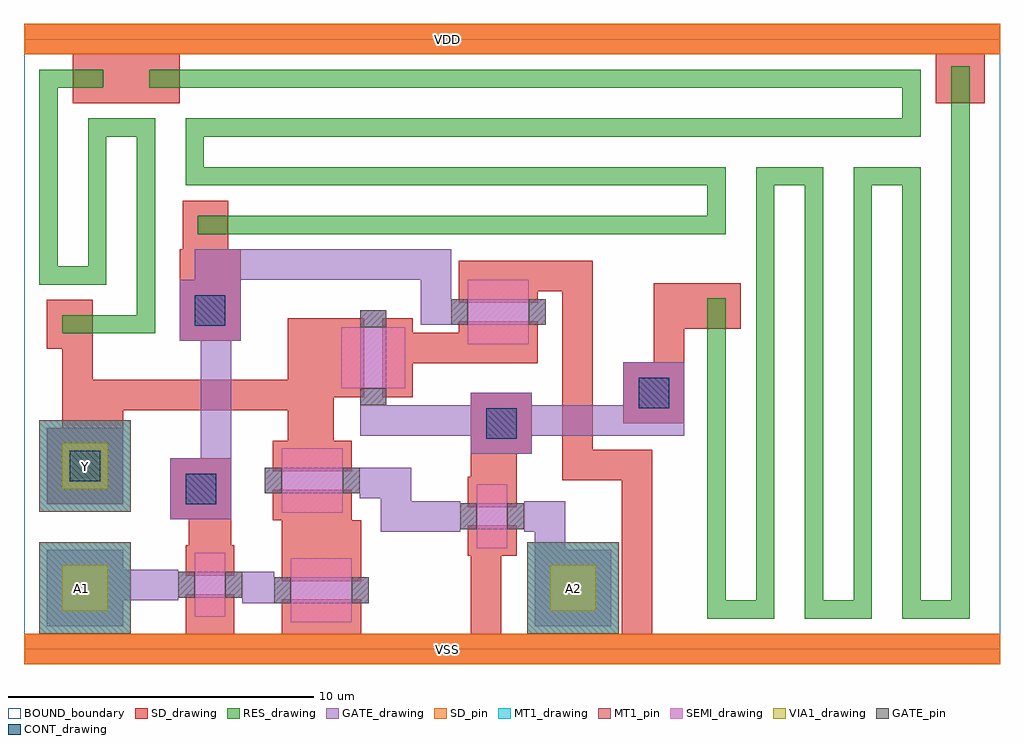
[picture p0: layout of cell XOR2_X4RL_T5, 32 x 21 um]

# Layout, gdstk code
from math import pi, radians
import gdstk
lib = gdstk.Library(unit=1e-6, precision=1e-09)
def R(c, l, rs):  # rectangles x0, y0, x1, y1
    for r in rs: c.add(gdstk.rectangle(r[:2], r[2:], *l))
def P(c, l, *ps):  # polygons
    for p in ps: c.add(gdstk.Polygon(p, *l))
RES_drawing = (1, 0)
SEMI_drawing = (3, 0)
SD_drawing = (10, 0)
SD_pin = (10, 3)
GATE_drawing = (11, 0)
GATE_pin = (11, 3)
MT1_drawing = (20, 0)
MT1_pin = (20, 3)
CONT_drawing = (30, 0)
VIA1_drawing = (41, 0)
BOUND_boundary = (150, 5)

nch_cdns_772545161620 = lib.new_cell('nch_CDNS_772545161620')
R(nch_cdns_772545161620, SEMI_drawing, [(-1.05,-0.5,1.05,0.5)])
R(nch_cdns_772545161620, SD_drawing, [(-1.3,-0.8,-0.3,0.8), (0.3,-0.8,1.3,0.8)])
R(nch_cdns_772545161620, GATE_drawing, [(-0.425,-1.05,0.425,1.05)])
R(nch_cdns_772545161620, GATE_pin, [(-0.425,-1.05,0.425,-0.5), (-0.425,0.5,0.425,1.05)])

nch_cdns_772545161621 = lib.new_cell('nch_CDNS_772545161621')
R(nch_cdns_772545161621, SEMI_drawing, [(-1.05,-1,1.05,1)])
R(nch_cdns_772545161621, SD_drawing, [(-1.3,-1.3,-0.3,1.3), (0.3,-1.3,1.3,1.3)])
R(nch_cdns_772545161621, GATE_drawing, [(-0.425,-1.55,0.425,1.55)])
R(nch_cdns_772545161621, GATE_pin, [(-0.425,-1.55,0.425,-1), (-0.425,1,0.425,1.55)])

gate_mt1_cdns_7725451616 = lib.new_cell('GATE_MT1_CDNS_772545161620')
R(gate_mt1_cdns_7725451616, GATE_drawing, [(-1.25,-1.25,1.25,1.25)])
R(gate_mt1_cdns_7725451616, MT1_drawing, [(-1.25,-1.25,1.25,1.25)])
R(gate_mt1_cdns_7725451616, VIA1_drawing, [(-0.75,-0.75,0.75,0.75)])

sd_gate_cdns_77254516162 = lib.new_cell('SD_GATE_CDNS_772545161621')
R(sd_gate_cdns_77254516162, SD_drawing, [(-1,-1,1,1)])
R(sd_gate_cdns_77254516162, GATE_drawing, [(-1,-1,1,1)])
R(sd_gate_cdns_77254516162, CONT_drawing, [(-0.5,-0.5,0.5,0.5)])

xor2_x4rl_t5 = lib.new_cell('XOR2_X4RL_T5')
R(xor2_x4rl_t5, SD_drawing, [(8.45,0.5,11.05,0.85), (8.45,3.225,11.05,4.225), (0.75,4.75,3.25,7.25), (14.65,5.6,16.15,8.4), (12.75,9.375,16.85,10.375), (0.75,9.85,2.25,11.45), (21.65,10.5,23.5,12), (5.1,11.55,7.1,13.1), (5.2,13.1,6.7,14.7), (1.6,17.9,3.6,19.5), (3.6,17.9,5.1,19.5), (29.9,17.9,31.5,19.5)])
R(xor2_x4rl_t5, SD_pin, [(0,-0.5,32,0.5), (0,19.5,32,20.5)])
R(xor2_x4rl_t5, GATE_drawing, [(7.15,1.5,8.2,2.525)])
P(xor2_x4rl_t5, GATE_drawing, [(16.5,3.85),(16.5,4.85),(16.4,4.85),(16.4,4.725),(16.35,4.725),(16.35,3.975),(16.4,3.975),(16.4,3.85)],
  [(14.2,4.85),(14.2,3.85),(14.3,3.85),(14.3,3.975),(14.35,3.975),(14.35,4.725),(14.3,4.725),(14.3,4.85)],
  [(13.9,11.625),(13.9,10.625),(14.05,10.625),(14.05,11.375),(14,11.375),(14,11.625)],
  [(11.075,7.9),(12.075,7.9),(12.075,8),(11.825,8),(11.825,8.05),(11.075,8.05)],
  [(4.95,2.6),(4.95,1.6),(5.05,1.6),(5.05,1.725),(5.1,1.725),(5.1,2.475),(5.05,2.475),(5.05,2.6)],
  [(11.1,4.95),(11.1,5.95),(11,5.95),(11,5.9),(10.95,5.9),(10.95,5.15),(11,5.15),(11,4.95)])
R(xor2_x4rl_t5, MT1_drawing, [(0.5,0.5,3.5,3.5), (0.5,0.5,3.5,3.5), (16.5,0.5,19.5,3.5), (0.5,4.5,3.5,7.5)])
R(xor2_x4rl_t5, MT1_pin, [(0.5,0.5,3.5,3.5), (16.5,0.5,19.5,3.5), (0.5,4.5,3.5,7.5)])
R(xor2_x4rl_t5, BOUND_boundary, [(0,0,32,20)])
xor2_x4rl_t5.add(gdstk.FlexPath([(9.4,6.825),(9.4,8.325)], 1.5, ends=(0, 0.5), simple_path=True, layer=10, datatype=0))  # SD_drawing
xor2_x4rl_t5.add(gdstk.FlexPath([(9.4,8.325),(9.4,10.1)], 1.5, ends=(0.5, 0.75), simple_path=True, layer=10, datatype=0))  # SD_drawing
xor2_x4rl_t5.add(gdstk.FlexPath([(2.75,8.325),(9.4,8.325)], 1, ends=(0.5, 0.75), simple_path=True, layer=10, datatype=0))  # SD_drawing
xor2_x4rl_t5.add(gdstk.FlexPath([(18.15,6.025),(18.15,12.225),(14.25,12.225)], 1, ends=(0.5, 0), simple_path=True, layer=10, datatype=0))  # SD_drawing
xor2_x4rl_t5.add(gdstk.FlexPath([(2.75,4.75),(2.75,8.325)], 1, ends=(0, 0.5), simple_path=True, layer=10, datatype=0))  # SD_drawing
xor2_x4rl_t5.add(gdstk.FlexPath([(1.75,6.025),(1.75,9.4)], 1, ends=(0, 0.5), simple_path=True, layer=10, datatype=0))  # SD_drawing
xor2_x4rl_t5.add(gdstk.FlexPath([(18.15,6.025),(20.1,6.025)], 1, ends="extended", simple_path=True, layer=10, datatype=0))  # SD_drawing
xor2_x4rl_t5.add(gdstk.FlexPath([(21.15,9.8),(20.65,9.8)], 2, ends=(0.5, 0), simple_path=True, layer=10, datatype=0))  # SD_drawing
xor2_x4rl_t5.add(gdstk.FlexPath([(20.1,6.025),(20.1,0.5)], 1, ends=(0.5, 0), simple_path=True, layer=10, datatype=0))  # SD_drawing
xor2_x4rl_t5.add(gdstk.FlexPath([(6.1,3.4),(6.1,4.9)], 1.4, ends="flush", simple_path=True, layer=10, datatype=0))  # SD_drawing
xor2_x4rl_t5.add(gdstk.FlexPath([(15.15,3.05),(15.15,0.1)], 1, ends="flush", simple_path=True, layer=10, datatype=0))  # SD_drawing
xor2_x4rl_t5.add(gdstk.FlexPath([(6.1,0.85),(6.1,0.1)], 1.6, ends="flush", simple_path=True, layer=10, datatype=0))  # SD_drawing
xor2_x4rl_t5.add(gdstk.FlexPath([(21.15,12),(21.15,9.8)], 1, ends=(0, 1), simple_path=True, layer=10, datatype=0))  # SD_drawing
xor2_x4rl_t5.add(gdstk.FlexPath([(9.4,8.325),(10.15,8.325)], 1, ends=(0.75, 0), simple_path=True, layer=10, datatype=0))  # SD_drawing
xor2_x4rl_t5.add(gdstk.FlexPath([(0,20),(32,20)], 1, ends="flush", simple_path=True, layer=10, datatype=0))  # SD_drawing
xor2_x4rl_t5.add(gdstk.FlexPath([(0,0),(32,0)], 1, ends="flush", simple_path=True, layer=10, datatype=0))  # SD_drawing
xor2_x4rl_t5.add(gdstk.FlexPath([(13.5,12.6),(6.3,12.6)], 1, ends="extended", simple_path=True, layer=11, datatype=0))  # GATE_drawing
xor2_x4rl_t5.add(gdstk.FlexPath([(13.9,11.125),(13.5,11.125)], 1, ends=(0, 0.5), simple_path=True, layer=11, datatype=0))  # GATE_drawing
xor2_x4rl_t5.add(gdstk.FlexPath([(6.3,12.6),(5.6,12.6)], 1, ends=(0.5, 0), simple_path=True, layer=11, datatype=0))  # GATE_drawing
xor2_x4rl_t5.add(gdstk.FlexPath([(12.2,4.35),(12.2,5.95)], 1, ends=(0.5, 0), simple_path=True, layer=11, datatype=0))  # GATE_drawing
xor2_x4rl_t5.add(gdstk.FlexPath([(13.5,11.125),(13.5,12.6)], 1, ends="extended", simple_path=True, layer=11, datatype=0))  # GATE_drawing
xor2_x4rl_t5.add(gdstk.FlexPath([(14.2,4.35),(12.2,4.35)], 1, ends=(0, 0.5), simple_path=True, layer=11, datatype=0))  # GATE_drawing
xor2_x4rl_t5.add(gdstk.FlexPath([(16.5,4.35),(17.25,4.35)], 1, ends=(0, 0.5), simple_path=True, layer=11, datatype=0))  # GATE_drawing
xor2_x4rl_t5.add(gdstk.FlexPath([(11.525,7.5),(21.65,7.5)], 1, ends=(0.5, 0), simple_path=True, layer=11, datatype=0))  # GATE_drawing
xor2_x4rl_t5.add(gdstk.FlexPath([(11.1,5.45),(12.15,5.45)], 1, ends="flush", simple_path=True, layer=11, datatype=0))  # GATE_drawing
xor2_x4rl_t5.add(gdstk.FlexPath([(4.95,2.1),(3.7,2.1)], 1, ends=(0, 0.5), simple_path=True, layer=11, datatype=0))  # GATE_drawing
xor2_x4rl_t5.add(gdstk.FlexPath([(17.25,4.35),(17.25,3.25)], 1, ends=(0.5, 0), simple_path=True, layer=11, datatype=0))  # GATE_drawing
xor2_x4rl_t5.add(gdstk.FlexPath([(6.3,12.6),(6.3,6.25)], 1, ends=(0.5, 0), simple_path=True, layer=11, datatype=0))  # GATE_drawing
xor2_x4rl_t5.add(gdstk.FlexPath([(4.1,18.7),(29.1,18.7),(29.1,17.1),(5.6,17.1),(5.6,15.5),(22.7,15.5),(22.7,13.9),(5.7,13.9)], 0.6, ends="flush", simple_path=True, layer=1, datatype=0))  # RES_drawing
xor2_x4rl_t5.add(gdstk.FlexPath([(30.7,19.1),(30.7,1.3),(29.1,1.3),(29.1,15.5),(27.5,15.5),(27.5,1.3),(25.9,1.3),(25.9,15.5),(24.3,15.5),(24.3,1.3),(22.7,1.3),(22.7,11.5)], 0.6, ends="flush", simple_path=True, layer=1, datatype=0))  # RES_drawing
xor2_x4rl_t5.add(gdstk.FlexPath([(2.6,18.7),(0.8,18.7),(0.8,12.25),(2.4,12.25),(2.4,17.1),(4,17.1),(4,10.65),(1.25,10.65)], 0.6, ends="flush", simple_path=True, layer=1, datatype=0))  # RES_drawing
xor2_x4rl_t5.add(gdstk.Reference(nch_cdns_772545161620, (15.35,4.35), rotation=pi/2))
xor2_x4rl_t5.add(gdstk.Reference(nch_cdns_772545161620, (6.1,2.1), rotation=pi/2))
xor2_x4rl_t5.add(gdstk.Reference(nch_cdns_772545161621, (9.75,1.925), rotation=pi/2))
xor2_x4rl_t5.add(gdstk.Reference(nch_cdns_772545161621, (15.55,11.05), rotation=3*pi/2, x_reflection=True))
xor2_x4rl_t5.add(gdstk.Reference(nch_cdns_772545161621, (11.45,9.55), rotation=pi))
xor2_x4rl_t5.add(gdstk.Reference(nch_cdns_772545161621, (9.45,5.525), rotation=3*pi/2))
xor2_x4rl_t5.add(gdstk.Reference(gate_mt1_cdns_7725451616, (2,6), rotation=pi, x_reflection=True))
xor2_x4rl_t5.add(gdstk.Reference(gate_mt1_cdns_7725451616, (2,6)))
xor2_x4rl_t5.add(gdstk.Reference(gate_mt1_cdns_7725451616, (2,2), rotation=pi, x_reflection=True))
xor2_x4rl_t5.add(gdstk.Reference(gate_mt1_cdns_7725451616, (18,2), rotation=pi, x_reflection=True))
xor2_x4rl_t5.add(gdstk.Reference(sd_gate_cdns_77254516162, (6.1,11.1)))
xor2_x4rl_t5.add(gdstk.Reference(sd_gate_cdns_77254516162, (20.65,8.4)))
xor2_x4rl_t5.add(gdstk.Reference(sd_gate_cdns_77254516162, (15.65,7.4)))
xor2_x4rl_t5.add(gdstk.Reference(sd_gate_cdns_77254516162, (5.8,5.25)))
xor2_x4rl_t5.add(gdstk.Reference(sd_gate_cdns_77254516162, (2,6)))
xor2_x4rl_t5.add(gdstk.Label('A1', (1.9,2), layer=20, texttype=3))
xor2_x4rl_t5.add(gdstk.Label('A2', (18,2), layer=20, texttype=3))
xor2_x4rl_t5.add(gdstk.Label('A1', (1.9,2), layer=20, texttype=3))
xor2_x4rl_t5.add(gdstk.Label('Y', (2,6), layer=20, texttype=3))
xor2_x4rl_t5.add(gdstk.Label('VSS', (13.9,0), layer=10, texttype=3))
xor2_x4rl_t5.add(gdstk.Label('VDD', (13.9,20), layer=10, texttype=3))

lib.write_gds('XOR2_X4RL_T5.gds')
